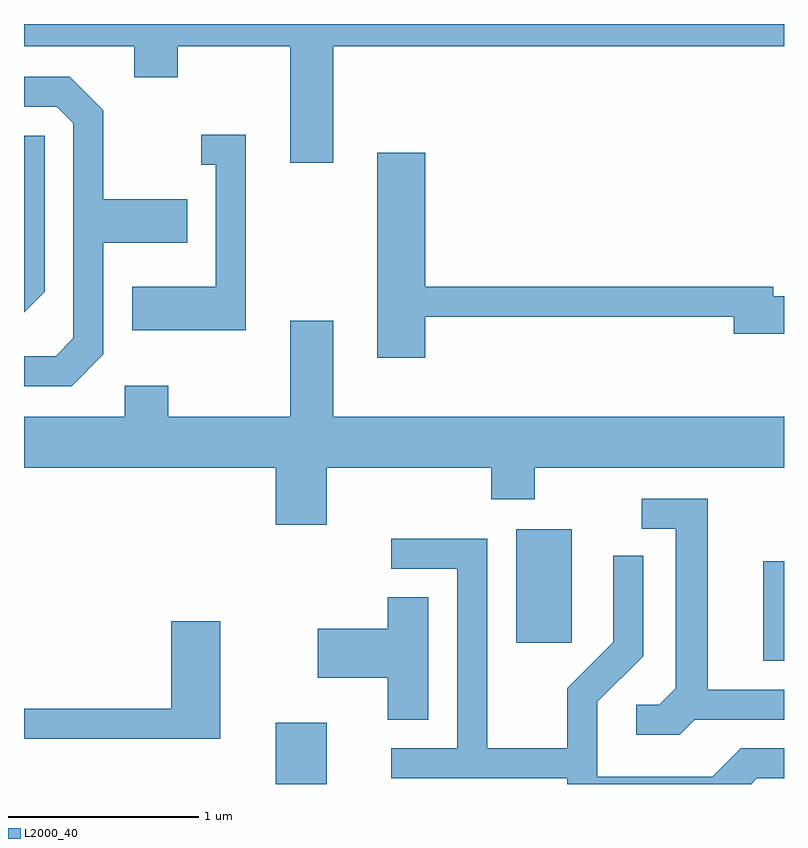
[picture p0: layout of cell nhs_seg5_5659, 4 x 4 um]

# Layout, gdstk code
import gdstk
lib = gdstk.Library(unit=1e-6, precision=1e-09)
def R(c, l, rs):  # rectangles x0, y0, x1, y1
    for r in rs: c.add(gdstk.rectangle(r[:2], r[2:], *l))
def P(c, l, *ps):  # polygons
    for p in ps: c.add(gdstk.Polygon(p, *l))
L2000_40 = (2000, 40)

nhs_seg5_5659 = lib.new_cell('nhs_seg5_5659')
R(nhs_seg5_5659, L2000_40, [(354.936,1404.072,355.204,1404.394), (357.501,1404.721,357.611,1405.244), (356.201,1404.816,356.494,1405.414)])
P(nhs_seg5_5659, L2000_40, [(355.239,1407.956),(357.611,1407.956),(357.611,1408.072),(353.611,1408.072),(353.611,1407.956),(354.191,1407.956),(354.191,1407.791),(354.419,1407.791),(354.419,1407.956),(355.011,1407.956),(355.011,1407.341),(355.239,1407.341)],
  [(354.029,1406.334),(354.029,1406.921),(354.469,1406.921),(354.469,1407.149),(354.029,1407.149),(354.029,1407.617),(353.852,1407.794),(353.611,1407.794),(353.611,1407.636),(353.784,1407.636),(353.871,1407.549),(353.871,1406.417),(353.779,1406.324),(353.611,1406.324),(353.611,1406.166),(353.862,1406.166)],
  [(354.779,1407.489),(354.543,1407.489),(354.543,1407.331),(354.621,1407.331),(354.621,1406.689),(354.181,1406.689),(354.181,1406.461),(354.779,1406.461)],
  [(353.719,1406.664),(353.719,1407.484),(353.611,1407.484),(353.611,1406.555)],
  [(355.724,1406.531),(357.346,1406.531),(357.346,1406.441),(357.611,1406.441),(357.611,1406.639),(357.554,1406.639),(357.554,1406.689),(355.724,1406.689),(355.724,1407.394),(355.471,1407.394),(355.471,1406.316),(355.724,1406.316)],
  [(355.204,1405.736),(356.071,1405.736),(356.071,1405.571),(356.299,1405.571),(356.299,1405.736),(357.611,1405.736),(357.611,1406.004),(355.239,1406.004),(355.239,1406.509),(355.011,1406.509),(355.011,1406.004),(354.369,1406.004),(354.369,1406.169),(354.141,1406.169),(354.141,1406.004),(353.611,1406.004),(353.611,1405.736),(354.936,1405.736),(354.936,1405.436),(355.204,1405.436)],
  [(357.142,1404.411),(357.611,1404.411),(357.611,1404.569),(357.209,1404.569),(357.209,1405.574),(356.863,1405.574),(356.863,1405.416),(357.041,1405.416),(357.041,1404.577),(356.954,1404.489),(356.833,1404.489),(356.833,1404.331),(357.062,1404.331)],
  [(357.467,1404.101),(357.611,1404.101),(357.611,1404.259),(357.384,1404.259),(357.234,1404.109),(356.629,1404.109),(356.629,1404.504),(356.869,1404.744),(356.869,1405.273),(356.711,1405.273),(356.711,1404.817),(356.471,1404.577),(356.471,1404.259),(356.049,1404.259),(356.049,1405.364),(355.543,1405.364),(355.543,1405.206),(355.891,1405.206),(355.891,1404.259),(355.543,1404.259),(355.543,1404.101),(356.471,1404.101),(356.471,1404.072),(357.438,1404.072)],
  [(355.739,1405.054),(355.526,1405.054),(355.526,1404.889),(355.156,1404.889),(355.156,1404.631),(355.526,1404.631),(355.526,1404.411),(355.739,1404.411)],
  [(354.644,1404.929),(354.386,1404.929),(354.386,1404.469),(353.611,1404.469),(353.611,1404.311),(354.644,1404.311)])

lib.write_gds('nhs_seg5_5659.gds')
